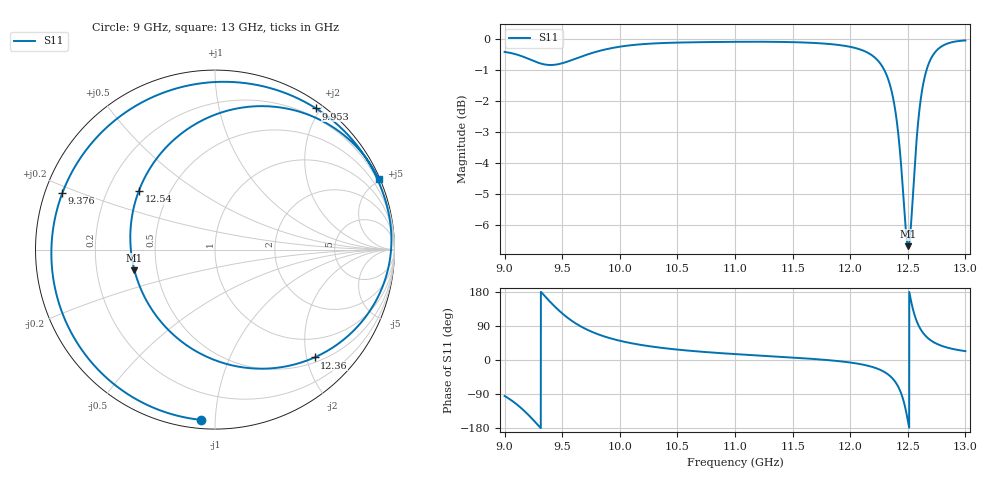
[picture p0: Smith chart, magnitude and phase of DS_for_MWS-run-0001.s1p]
! TOUCHSTONE file generated by CST DESIGN STUDIO
! Date and time: Tue Feb  4 17:33:33 2025
! Project name: C:\Work\MatlabApps\UnitCellOptimizationMatlab\CST\unitcell.cst
! Tree item: Tasks\Sweep1\SPara1\S-Parameters
! Header version: 2024
! Port assignment regex: !\s*Touchstone port\s*([0-9]+)\s*=\s*(CST MWS port|CST DES external port|CST DES block port)\s*(.+)\s* \(\"(.*)\"\)(\s*mode\s*([0-9]+))?.*
! Touchstone port assignment:
! Touchstone port 1 = CST DES external port 1 ("")
# GHz S MA R 50
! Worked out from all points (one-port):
!   4001 points, 9 GHz to 13 GHz, reference 50 ohm
!   lowest |S11| = -6.7 dB at 12.5 GHz (marker M1), VSWR 2.73, Z = 18.6 - j5.42 ohm
!   |S11| at or under -10 dB: nowhere
!   S11 on the Smith chart (normalised r, x): 9 GHz: 0.05, -0.92; 9.376 GHz: 0.05, +0.18; 9.953 GHz: 0.08, +1.94; 12.36 GHz: 0.59, -2.15; 12.54 GHz: 0.33, +0.31; 13 GHz: 0.08, +4.83
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9  0.9518 -94.9
9.09  0.9444 -113.4
9.171  0.9335 -134.4
9.279  0.9162 -168.1
9.376  0.9071 159.7
9.5  0.9127 123.0
9.666  0.9355 87.9
9.801  0.953 69.0
9.953  0.9672 54.4
10  0.9704 50.8
10.5  0.9853 27.5
11  0.9881 15.6
11.5  0.9869 6.4
12  0.9699 -6.6
12.237  0.9232 -22.9
12.308  0.8806 -33.6
12.363  0.8177 -47.3
12.442  0.6255 -87.8
12.471  0.5255 -117.0
12.5  0.4643 -159.1
12.504  0.4633 -165.7
12.538  0.5357 142.4
12.57  0.663 108.4
12.604  0.7766 85.0
12.655  0.8798 63.5
12.712  0.9363 49.3
12.825  0.9785 34.3
13  0.9931 23.4
